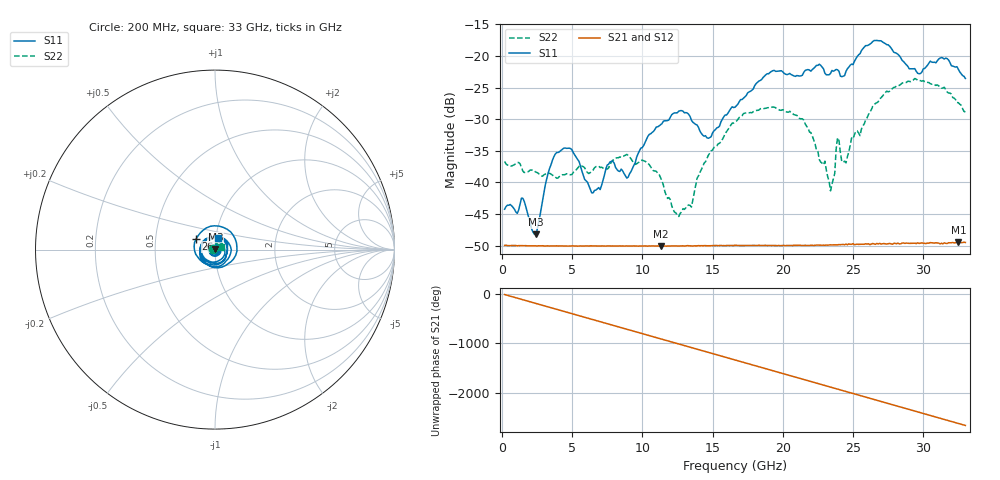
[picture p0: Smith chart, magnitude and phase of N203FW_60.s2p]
# GHZ S RI R 50
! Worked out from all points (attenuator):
!   329 points, 200 MHz to 33 GHz, reference 50 ohm
!   highest |S21| = -49.45 dB at 32.5 GHz (marker M1); lowest = -50.1 dB at 11.3 GHz (marker M2)
!   lowest |S11| = -48.2 dB at 2.4 GHz (marker M3), VSWR 1.01, Z = 50.2 + j0.303 ohm
!   |S11| at or under -10 dB: start of sweep to end of sweep
!   |S22| runs from -45.4 to -23.6 dB; largest |S21 - S12| = 8.8e-05
!   S11 on the Smith chart (normalised r, x): 200 MHz: 1.01, +0.00; 26 GHz: 0.80, +0.10; 33 GHz: 1.02, +0.13
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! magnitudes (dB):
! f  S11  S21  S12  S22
! 200 MHz  -44.2  -50.0  -49.9  -36.7
! 1.5 GHz  -42.5  -50.0  -50.0  -38.2
! 2.4 GHz  -48.2  -50.0  -50.0  -38.3
! 3.8 GHz  -35.5  -50.0  -50.0  -39.1
! 5.7 GHz  -38.2  -50.1  -50.0  -37.4
! 6.4 GHz  -41.6  -50.0  -50.1  -38.2
! 8.9 GHz  -39.3  -50.0  -50.0  -35.6
! 11.2 GHz  -31.1  -50.1  -50.1  -38.7
! 11.3 GHz  -30.9  -50.1  -50.1  -39.2
! 12.5 GHz  -29.0  -50.1  -50.0  -45.3
! 13.5 GHz  -30.2  -50.1  -50.0  -43.9
! 14.7 GHz  -33.0  -50.0  -50.0  -35.7
! 16.6 GHz  -28.1  -49.9  -50.0  -30.5
! 19.4 GHz  -22.3  -50.0  -50.0  -28.1
! 22.1 GHz  -22.1  -49.9  -49.9  -32.6
! 23.4 GHz  -22.8  -49.9  -49.9  -41.3
! 23.9 GHz  -22.2  -49.9  -49.9  -32.9
! 24.5 GHz  -22.4  -49.8  -49.7  -36.9
! 26 GHz  -18.4  -49.8  -49.7  -29.8
! 27.6 GHz  -18.4  -49.7  -49.7  -25.6
! 32.5 GHz  -22.1  -49.5  -49.4  -27.4
! 33 GHz  -23.5  -49.5  -49.5  -28.9
